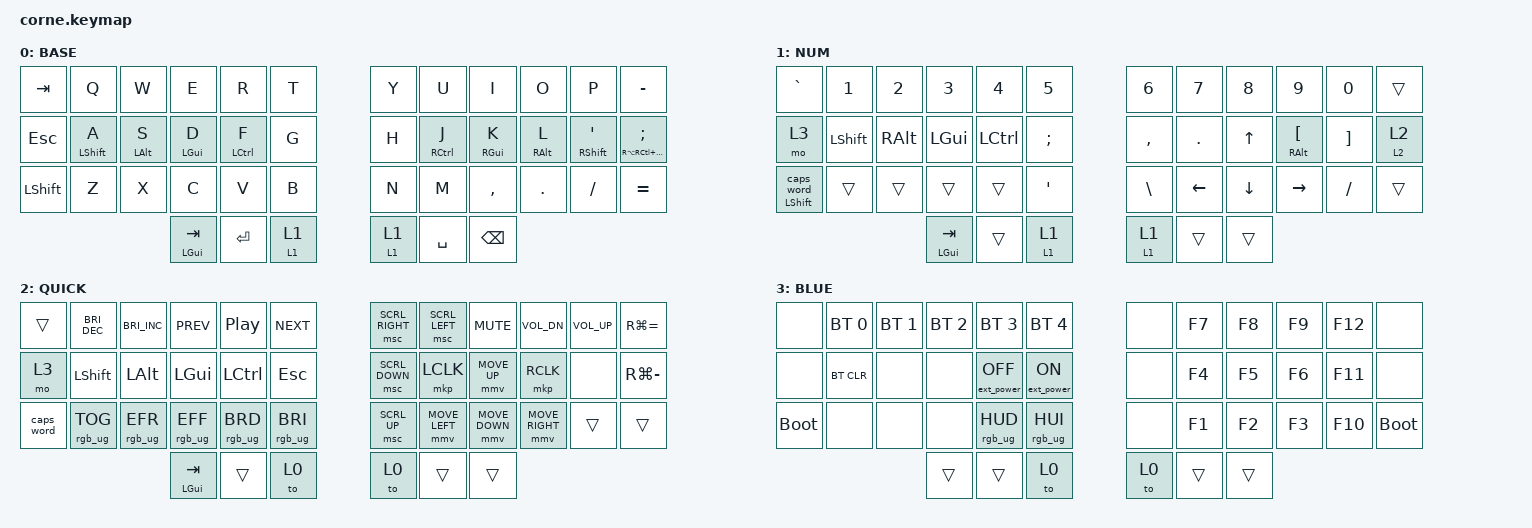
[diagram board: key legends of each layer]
/*
 * Copyright (c) 2020 The ZMK Contributors
 *
 * SPDX-License-Identifier: MIT
 */

#include <behaviors.dtsi>
#include <dt-bindings/zmk/bt.h>
#include <dt-bindings/zmk/ext_power.h>
#include <dt-bindings/zmk/keys.h>
#include <dt-bindings/zmk/pointing.h>
#include <dt-bindings/zmk/rgb.h>

/ {
    behaviors {
        hm: homerow_mods {
            compatible = "zmk,behavior-hold-tap";
            label = "HOMEROW_MODS";
            #binding-cells = <2>;
            tapping-term-ms = <200>;
            quick_tap_ms = <0>;
            flavor = "tap-preferred";
            bindings = <&kp>, <&kp>;

            quick-tap-ms = <180>;
            global-quick-tap;
        };

        ltq: ltq {
            compatible = "zmk,behavior-hold-tap";
            label = "LTQ";
            bindings = <&mo>, <&kp>;

            #binding-cells = <2>;
            tapping-term-ms = <600>;
            global-quick-tap;
            quick-tap-ms = <400>;
        };

        layer_tap_hold: layer_tap_hold {
            compatible = "zmk,behavior-hold-tap";
            label = "LAYER_TAP_HOLD";
            bindings = <&mo>, <&tog>;

            #binding-cells = <2>;
            tapping-term-ms = <200>;
            flavor = "balanced";
        };

        hm_l: homerow_left {
            compatible = "zmk,behavior-hold-tap";
            label = "HOMEROW_LEFT";
            bindings = <&kp>, <&kp>;

            #binding-cells = <2>;
            tapping-term-ms = <280>;
            quick-tap-ms = <175>;
            require-prior-idle-ms = <150>;
            flavor = "balanced";
            hold-trigger-on-release;
            hold-trigger-key-positions = <6 7 8 9 10 11 18 19 20 21 22 23 30 31 32 33 34 35 40 41 39 36 37 38 0 12 24 5 17 29 25 26 28 36 27 2 3 4 1>;
        };

        hm_r: homerow_right {
            compatible = "zmk,behavior-hold-tap";
            label = "HOMEROW_RIGHT";
            bindings = <&kp>, <&kp>;

            #binding-cells = <2>;
            tapping-term-ms = <280>;
            quick-tap-ms = <175>;
            require-prior-idle-ms = <150>;
            flavor = "balanced";
            hold-trigger-on-release;
            hold-trigger-key-positions = <0 1 5 12 13 14 15 16 17 24 25 26 27 28 29 36 37 38 2 4 3 39 40 41 6 18 30 11 23 35 7 8 9 10 34 33 32 31>;
        };

        caps_shift: caps_shift {
            compatible = "zmk,behavior-hold-tap";
            label = "CAPS_SHIFT";
            bindings = <&kp>, <&caps_word>;

            #binding-cells = <2>;
            tapping-term-ms = <200>;
        };
    };

    combos {
        compatible = "zmk,combos";

        combo_base {
            bindings = <&to 0>;
            key-positions = <26 27 28>;
        };

        spotlight_left {
            bindings = <&kp LG(SPACE)>;
            key-positions = <2 3 4>;
        };

        spotlight_right {
            bindings = <&kp RG(SPACE)>;
            key-positions = <7 8 9>;
        };

        lock_screen {
            bindings = <&kp LG(LC(Q))>;
            key-positions = <4 5 6 7>;
        };

        escape {
            bindings = <&kp ESC>;
            key-positions = <1 2>;
        };

        bootloader {
            bindings = <&bootloader>;
            key-positions = <0 12 11 23>;
        };
    };

    keymap {
        compatible = "zmk,keymap";

        base_layer {
            bindings = <
&kp TAB    &kp Q               &kp W             &kp E             &kp R                 &kp T                &kp Y                &kp U                  &kp I              &kp O              &kp P                  &kp MINUS
&kp ESC    &hm_l LEFT_SHIFT A  &hm_l LEFT_ALT S  &hm_l LEFT_GUI D  &hm_l LEFT_CONTROL F  &kp G                &kp H                &hm_r RIGHT_CONTROL J  &hm_r RIGHT_GUI K  &hm_r RIGHT_ALT L  &hm_r RIGHT_SHIFT SQT  &mt RA(RC(RIGHT_SHIFT)) SEMICOLON
&kp LSHFT  &kp Z               &kp X             &kp C             &kp V                 &kp B                &kp N                &kp M                  &kp COMMA          &kp DOT            &kp FSLH               &kp EQUAL
                                                 &mt LEFT_GUI TAB  &kp ENTER             &layer_tap_hold 1 1  &layer_tap_hold 1 1  &kp SPACE              &kp BACKSPACE
            >;

            label = "BASE";
        };

        num_layer {
            bindings = <
&kp GRAVE                 &kp N1          &kp N2         &kp N3            &kp N4            &kp N5               &kp N6               &kp N7      &kp N8          &kp N9                      &kp N0             &trans
&mo 3                     &kp LEFT_SHIFT  &kp RIGHT_ALT  &kp LEFT_GUI      &kp LEFT_CONTROL  &kp SEMICOLON        &kp COMMA            &kp PERIOD  &kp UP_ARROW    &mt RIGHT_ALT LEFT_BRACKET  &kp RIGHT_BRACKET  &layer_tap_hold 2 2
&caps_shift LEFT_SHIFT 0  &trans          &trans         &trans            &trans            &kp SQT              &kp BACKSLASH        &kp LEFT    &kp DOWN_ARROW  &kp RIGHT                   &kp SLASH          &trans
                                                         &mt LEFT_GUI TAB  &trans            &layer_tap_hold 1 1  &layer_tap_hold 1 1  &trans      &trans
            >;

            label = "NUM";
        };

        quick_layer {
            bindings = <
&trans      &kp C_BRIGHTNESS_DEC  &kp C_BRIGHTNESS_INC  &kp C_PREV        &kp C_PLAY_PAUSE  &kp C_NEXT       &msc SCRL_RIGHT  &msc SCRL_LEFT  &kp K_MUTE      &kp C_VOL_DN     &kp C_VOLUME_UP  &kp RG(EQUAL)
&mo 3       &kp LEFT_SHIFT        &kp LEFT_ALT          &kp LEFT_GUI      &kp LEFT_CONTROL  &kp ESCAPE       &msc SCRL_DOWN   &mkp LCLK       &mmv MOVE_UP    &mkp RCLK        &none            &kp RG(MINUS)
&caps_word  &rgb_ug RGB_TOG       &rgb_ug RGB_EFR       &rgb_ug RGB_EFF   &rgb_ug RGB_BRD   &rgb_ug RGB_BRI  &msc SCRL_UP     &mmv MOVE_LEFT  &mmv MOVE_DOWN  &mmv MOVE_RIGHT  &trans           &trans
                                                        &mt LEFT_GUI TAB  &trans            &to 0            &to 0            &trans          &trans
            >;

            label = "QUICK";
        };

        bluetooth_layer {
            bindings = <
&none        &bt BT_SEL 0  &bt BT_SEL 1  &bt BT_SEL 2  &bt BT_SEL 3       &bt BT_SEL 4      &none  &kp F7  &kp F8  &kp F9  &kp F12  &none
&none        &bt BT_CLR    &none         &none         &ext_power EP_OFF  &ext_power EP_ON  &none  &kp F4  &kp F5  &kp F6  &kp F11  &none
&bootloader  &none         &none         &none         &rgb_ug RGB_HUD    &rgb_ug RGB_HUI   &none  &kp F1  &kp F2  &kp F3  &kp F10  &bootloader
                                         &trans        &trans             &to 0             &to 0  &trans  &trans
            >;

            label = "BLUE";
        };
    };
};
